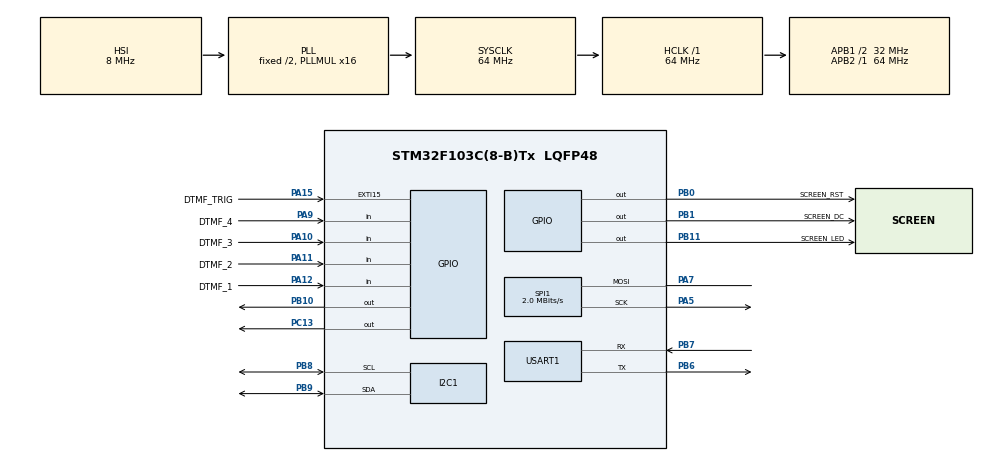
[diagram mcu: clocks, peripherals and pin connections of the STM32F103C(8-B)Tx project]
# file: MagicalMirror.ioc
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Mcu.Family=STM32F1
Mcu.Name=STM32F103C(8-B)Tx
Mcu.Package=LQFP48
NVIC.EXTI15_10_IRQn=true\:0\:0\:false\:false\:true\:true\:true\:true
NVIC.PriorityGroup=NVIC_PRIORITYGROUP_4
PA10.GPIO_Label=DTMF_3
PA10.Signal=GPIO_Input
PA11.GPIO_Label=DTMF_2
PA11.Signal=GPIO_Input
PA12.GPIO_Label=DTMF_1
PA12.Signal=GPIO_Input
PA15.GPIO_Label=DTMF_TRIG
PA15.GPIO_ModeDefaultEXTI=GPIO_MODE_IT_RISING
PA15.Signal=GPXTI15
PA5.Mode=Simplex_Bidirectional_Master
PA5.Signal=SPI1_SCK
PA7.Mode=Simplex_Bidirectional_Master
PA7.Signal=SPI1_MOSI
PA9.GPIO_Label=DTMF_4
PA9.Signal=GPIO_Input
PB0.GPIO_Label=SCREEN_RST
PB0.Signal=GPIO_Output
PB1.GPIO_Label=SCREEN_DC
PB1.Signal=GPIO_Output
PB10.Signal=GPIO_Output
PB11.GPIO_Label=SCREEN_LED
PB11.Signal=GPIO_Output
PB6.Mode=Asynchronous
PB6.Signal=USART1_TX
PB7.Mode=Asynchronous
PB7.Signal=USART1_RX
PB8.Mode=I2C
PB8.Signal=I2C1_SCL
PB9.Mode=I2C
PB9.Signal=I2C1_SDA
PC13-TAMPER-RTC.Signal=GPIO_Output
ProjectManager.HeapSize=0x200
ProjectManager.StackSize=0x400
ProjectManager.TargetToolchain=CMake
RCC.AHBFreq_Value=64000000
RCC.APB1CLKDivider=RCC_HCLK_DIV2
RCC.APB1Freq_Value=32000000
RCC.APB1TimFreq_Value=64000000
RCC.APB2Freq_Value=64000000
RCC.APB2TimFreq_Value=64000000
RCC.HCLKFreq_Value=64000000
RCC.PLLMUL=RCC_PLL_MUL16
RCC.SYSCLKFreq_VALUE=64000000
RCC.SYSCLKSource=RCC_SYSCLKSOURCE_PLLCLK
RCC.USBFreq_Value=64000000
SPI1.BaudRatePrescaler=SPI_BAUDRATEPRESCALER_32
SPI1.CalculateBaudRate=2.0 MBits/s
SPI1.Direction=SPI_DIRECTION_1LINE
SPI1.Mode=SPI_MODE_MASTER
SPI1.VirtualType=VM_MASTER
USART1.VirtualMode=VM_ASYNC
VP_SYS_VS_ND.Mode=No_Debug
board=custom

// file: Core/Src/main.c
/* USER CODE BEGIN Header */
/**
  ******************************************************************************
  * @file           : main.c
  * @brief          : Main program body
  ******************************************************************************
  * @attention
  *
  * Copyright (c) 2025 STMicroelectronics.
  * All rights reserved.
  *
  * This software is licensed under terms that can be found in the LICENSE file
  * in the root directory of this software component.
  * If no LICENSE file comes with this software, it is provided AS-IS.
  *
  ******************************************************************************
  */
/* USER CODE END Header */
#include "main.h"
#include "i2c.h"
#include "spi.h"
#include "usart.h"
#include "gpio.h"

/* USER CODE BEGIN Includes */
#include <stdio.h>
#include <string.h>
#include "ds1307.h"
#include "st7735.h"
#include "GFX_FUNCTIONS.h"
#include "fonts.h"
/* USER CODE END Includes */

/* USER CODE BEGIN PV */
char dtmfTimeString[16];
DS1307_TimeTypeDef systemTime;
/* USER CODE END PV */

void SystemClock_Config(void);

int main(void)
{

  /* MCU Configuration--------------------------------------------------------*/

  /* Reset of all peripherals, Initializes the Flash interface and the Systick. */
  HAL_Init();

  /* Configure the system clock */
  SystemClock_Config();

  /* Initialize all configured peripherals */
  MX_GPIO_Init();
  MX_SPI1_Init();
  MX_I2C1_Init();
  MX_USART1_UART_Init();
  /* USER CODE BEGIN 2 */

    // 在 SPI1 初始化 ST7735 LCD
    ST7735_Init();

    // B11 - Backlight - 打开背光
    HAL_GPIO_WritePin(GPIOB, GPIO_PIN_11, GPIO_PIN_SET);

    // 屏幕重置为黑色
    ST7735_FillScreenFast(ST7735_BLACK);

    // 初始化 DS1307 RTC
    DS1307_Init(&hi2c1);

  /* USER CODE END 2 */

  /* Infinite loop */
  /* USER CODE BEGIN WHILE */
    while (1) {
        // 读取时间
        char timeStr[9]; // 时间字符串缓冲区
        if (DS1307_GetTime(&systemTime) == HAL_OK) {
            // 格式化为 HH:MM:SS
            sprintf(timeStr, "%02d:%02d:%02d", systemTime.hours, systemTime.minutes, systemTime.seconds);

            // 居中显示
            uint8_t strWidth = 11 * strlen(timeStr);
            uint8_t x = (ST7735_WIDTH - strWidth) / 2;

            ST7735_WriteString(x, 50, timeStr, Font_11x18, ST7735_WHITE, ST7735_BLACK);
        } else {
            ST7735_WriteString(15, 50, "RTC_ERR!", Font_11x18, ST7735_RED, ST7735_BLACK);
        }

        HAL_GPIO_TogglePin(GPIOC, GPIO_PIN_13);

    /* USER CODE END WHILE */

    /* USER CODE BEGIN 3 */
        HAL_Delay(1000); // 每秒更新一次
    }
  /* USER CODE END 3 */
}

void SystemClock_Config(void)
{
  RCC_OscInitTypeDef RCC_OscInitStruct = {0};
  RCC_ClkInitTypeDef RCC_ClkInitStruct = {0};

  /** Initializes the RCC Oscillators according to the specified parameters
  * in the RCC_OscInitTypeDef structure.
  */
  RCC_OscInitStruct.OscillatorType = RCC_OSCILLATORTYPE_HSI;
  RCC_OscInitStruct.HSIState = RCC_HSI_ON;
  RCC_OscInitStruct.HSICalibrationValue = RCC_HSICALIBRATION_DEFAULT;
  RCC_OscInitStruct.PLL.PLLState = RCC_PLL_ON;
  RCC_OscInitStruct.PLL.PLLSource = RCC_PLLSOURCE_HSI_DIV2;
  RCC_OscInitStruct.PLL.PLLMUL = RCC_PLL_MUL16;
  if (HAL_RCC_OscConfig(&RCC_OscInitStruct) != HAL_OK)
  {
    Error_Handler();
  }

  /** Initializes the CPU, AHB and APB buses clocks
  */
  RCC_ClkInitStruct.ClockType = RCC_CLOCKTYPE_HCLK|RCC_CLOCKTYPE_SYSCLK
                              |RCC_CLOCKTYPE_PCLK1|RCC_CLOCKTYPE_PCLK2;
  RCC_ClkInitStruct.SYSCLKSource = RCC_SYSCLKSOURCE_PLLCLK;
  RCC_ClkInitStruct.AHBCLKDivider = RCC_SYSCLK_DIV1;
  RCC_ClkInitStruct.APB1CLKDivider = RCC_HCLK_DIV2;
  RCC_ClkInitStruct.APB2CLKDivider = RCC_HCLK_DIV1;

  if (HAL_RCC_ClockConfig(&RCC_ClkInitStruct, FLASH_LATENCY_2) != HAL_OK)
  {
    Error_Handler();
  }
}

void Error_Handler(void)
{
    __disable_irq();
    while (1) {
    }
}
